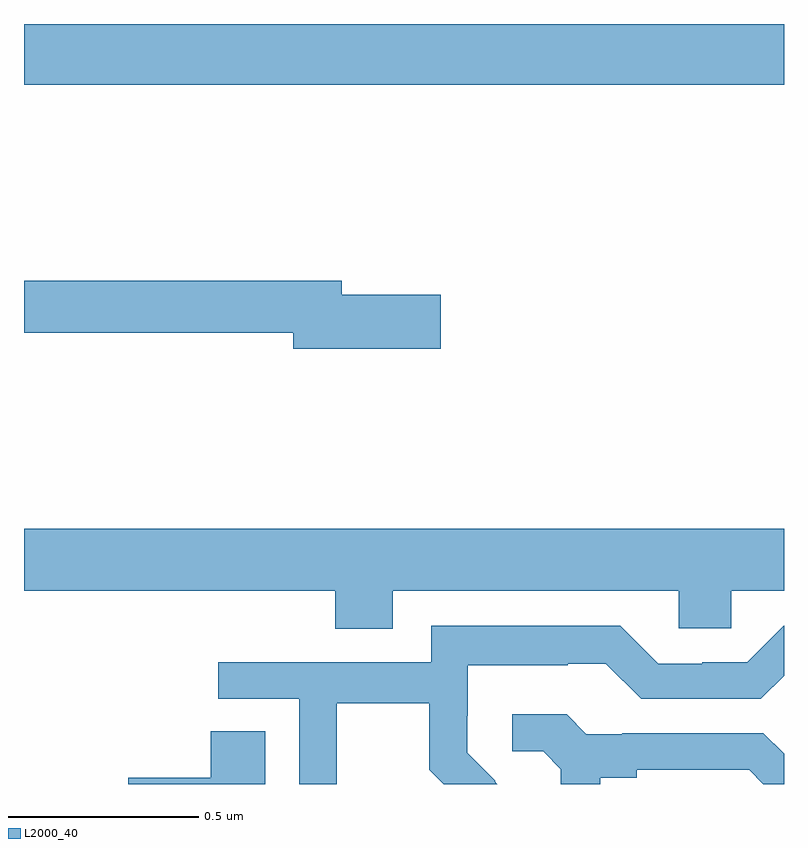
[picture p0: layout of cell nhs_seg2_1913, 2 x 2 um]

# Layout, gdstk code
import gdstk
lib = gdstk.Library(unit=1e-6, precision=1e-09)
def R(c, l, rs):  # rectangles x0, y0, x1, y1
    for r in rs: c.add(gdstk.rectangle(r[:2], r[2:], *l))
def P(c, l, *ps):  # polygons
    for p in ps: c.add(gdstk.Polygon(p, *l))
L2000_40 = (2000, 40)

nhs_seg2_1913 = lib.new_cell('nhs_seg2_1913')
R(nhs_seg2_1913, L2000_40, [(134,643.64,136,643.8)])
P(nhs_seg2_1913, L2000_40, [(135.097,643.088),(134.836,643.088),(134.836,643.124),(134,643.124),(134,642.988),(134.708,642.988),(134.708,642.946),(135.097,642.946)],
  [(134.971,642.308),(135.723,642.308),(135.723,642.21),(135.861,642.21),(135.861,642.308),(136,642.308),(136,642.472),(134,642.472),(134,642.308),(134.819,642.308),(134.819,642.209),(134.971,642.209)],
  [(134.823,642.012),(135.067,642.012),(135.067,641.837),(135.104,641.8),(135.246,641.8),(135.239,641.807),(135.24,641.808),(135.166,641.882),(135.166,641.979),(135.168,641.979),(135.168,642.113),(135.431,642.113),(135.431,642.117),(135.531,642.117),(135.624,642.024),(135.939,642.024),(136,642.085),(136,642.216),(135.999,642.216),(135.903,642.12),(135.785,642.12),(135.785,642.117),(135.669,642.117),(135.569,642.217),(135.072,642.217),(135.072,642.12),(134.511,642.12),(134.511,642.024),(134.724,642.024),(134.724,641.8),(134.823,641.8)],
  [(135.517,641.816),(135.613,641.816),(135.613,641.838),(135.908,641.838),(135.946,641.8),(136,641.8),(136,641.88),(135.946,641.934),(135.574,641.934),(135.574,641.931),(135.48,641.931),(135.428,641.983),(135.285,641.983),(135.285,641.886),(135.366,641.886),(135.413,641.839),(135.413,641.8),(135.517,641.8)],
  [(134.635,641.939),(134.492,641.939),(134.492,641.816),(134.274,641.816),(134.274,641.8),(134.635,641.8)])

lib.write_gds('nhs_seg2_1913.gds')
